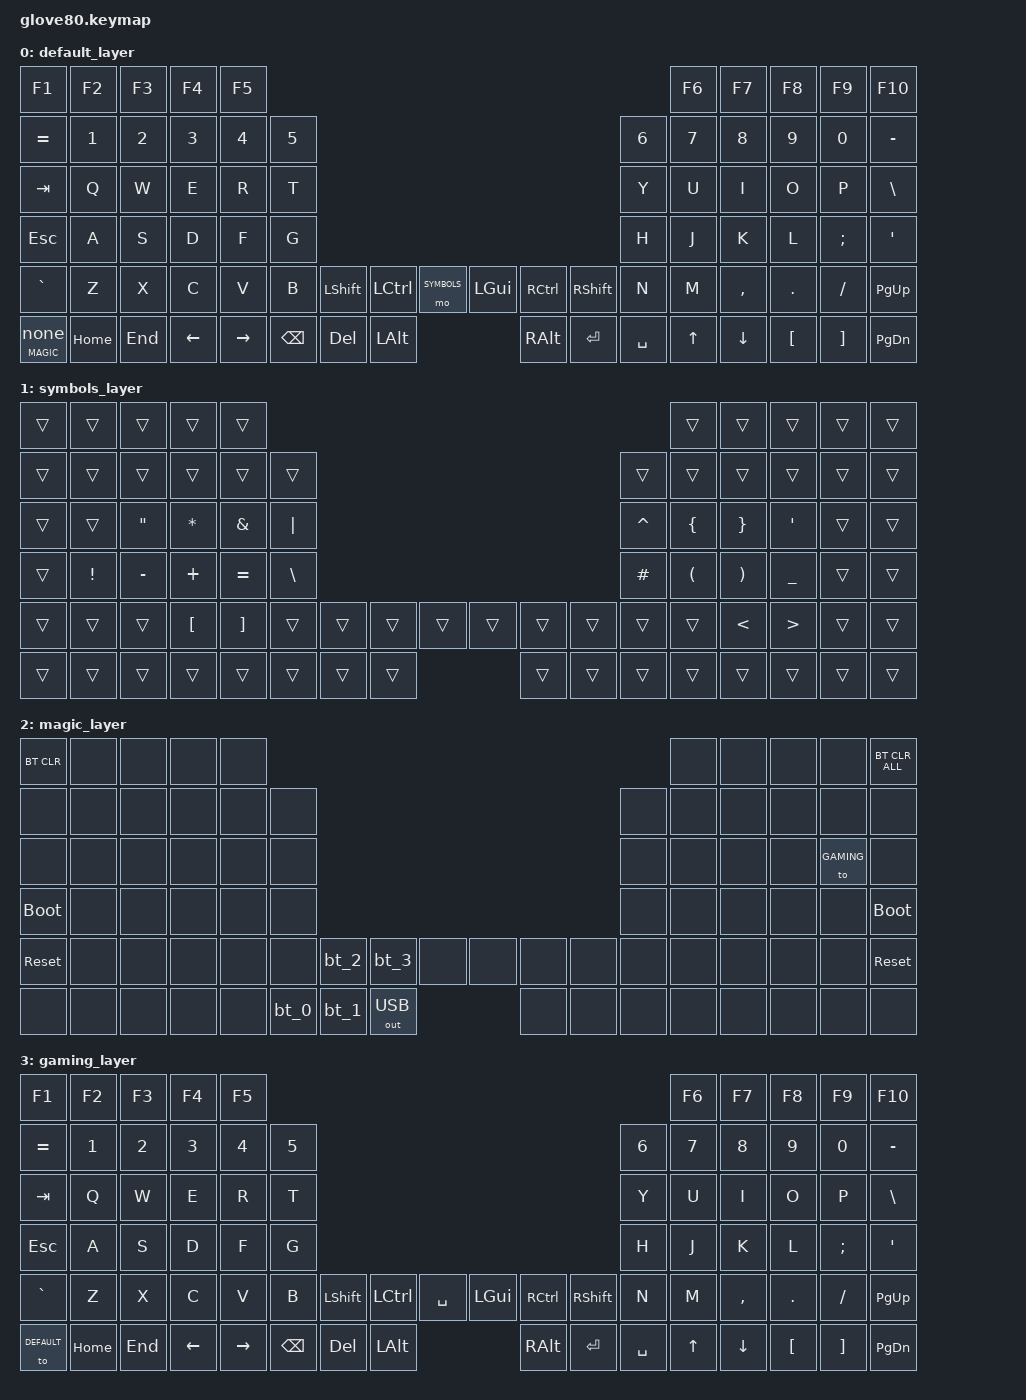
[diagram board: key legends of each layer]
/*
 * Glove80 layout based on MoErgo's factory configuration.
 * SPDX-License-Identifier: MIT
 */

#include <behaviors.dtsi>
#include <dt-bindings/zmk/keys.h>
#include <dt-bindings/zmk/bt.h>
#include <dt-bindings/zmk/outputs.h>

#define DEFAULT 0
#define SYMBOLS 1
#define MAGIC 2
#define GAMING 3

/ {
    behaviors {
        magic: magic_hold_tap {
            compatible = "zmk,behavior-hold-tap";
            label = "MAGIC_HOLD_TAP";
            #binding-cells = <2>;
            flavor = "tap-preferred";
            tapping-term-ms = <200>;
            bindings = <&mo>, <&none>;
        };
    };

    macros {
        bt_0: bt_profile_macro_0 {
            label = "BT_0";
            compatible = "zmk,behavior-macro";
            #binding-cells = <0>;
            bindings = <&out OUT_BLE>, <&bt BT_SEL 0>;
        };

        bt_1: bt_profile_macro_1 {
            label = "BT_1";
            compatible = "zmk,behavior-macro";
            #binding-cells = <0>;
            bindings = <&out OUT_BLE>, <&bt BT_SEL 1>;
        };

        bt_2: bt_profile_macro_2 {
            label = "BT_2";
            compatible = "zmk,behavior-macro";
            #binding-cells = <0>;
            bindings = <&out OUT_BLE>, <&bt BT_SEL 2>;
        };

        bt_3: bt_profile_macro_3 {
            label = "BT_3";
            compatible = "zmk,behavior-macro";
            #binding-cells = <0>;
            bindings = <&out OUT_BLE>, <&bt BT_SEL 3>;
        };
    };

    keymap {
        compatible = "zmk,keymap";

        default_layer {
            // Factory Base, except the unused Lower key now momentarily activates Symbols.
            bindings = <
            &kp F1         &kp F2   &kp F3      &kp F4      &kp F5                                                                                         &kp F6  &kp F7      &kp F8      &kp F9      &kp F10
            &kp EQUAL      &kp N1   &kp N2      &kp N3      &kp N4      &kp N5                                                                     &kp N6  &kp N7  &kp N8      &kp N9      &kp N0      &kp MINUS
            &kp TAB        &kp Q    &kp W       &kp E       &kp R       &kp T                                                                      &kp Y   &kp U   &kp I       &kp O       &kp P       &kp BSLH
            &kp ESC        &kp A    &kp S       &kp D       &kp F       &kp G                                                                      &kp H   &kp J   &kp K       &kp L       &kp SEMI    &kp SQT
            &kp GRAVE      &kp Z    &kp X       &kp C       &kp V       &kp B   &kp LSHFT   &kp LCTRL   &mo SYMBOLS &kp LGUI  &kp RCTRL &kp RSHFT   &kp N   &kp M   &kp COMMA   &kp DOT     &kp FSLH    &kp PG_UP
            &magic MAGIC 0 &kp HOME &kp END     &kp LEFT    &kp RIGHT           &kp BSPC    &kp DEL     &kp LALT      &kp RALT  &kp RET   &kp SPACE           &kp UP  &kp DOWN    &kp LBKT    &kp RBKT    &kp PG_DN
            >;
        };

        symbols_layer {
            // Hold the left Layer thumb. Unlisted keys and every thumb pass through Base.
            //
            //       W:"  E:*  R:&  T:|       Y:^  U:{  I:}  O:'
            // A:!   S:-  D:+  F:=  G:\\      H:#  J:(  K:)  L:_
            //            C:[  V:]                 ,:<  .:>
            bindings = <
            &trans          &trans       &trans       &trans       &trans                                                                                          &trans       &trans       &trans       &trans       &trans
            &trans          &trans       &trans       &trans       &trans       &trans                                                                    &trans       &trans       &trans       &trans       &trans       &trans
            &trans          &trans       &kp DQT      &kp ASTERISK &kp AMPS     &kp PIPE                                                                   &kp CARET    &kp LBRC    &kp RBRC    &kp SQT     &trans       &trans
            &trans          &kp EXCL     &kp MINUS    &kp PLUS     &kp EQUAL    &kp BSLH                                                                   &kp HASH     &kp LPAR    &kp RPAR    &kp UNDER   &trans       &trans
            &trans          &trans       &trans       &kp LBKT     &kp RBKT     &trans    &trans &trans &trans &trans &trans &trans                         &trans       &trans       &kp LT      &kp GT      &trans       &trans
            &trans          &trans       &trans       &trans       &trans                 &trans &trans &trans &trans &trans &trans                                      &trans       &trans       &trans       &trans       &trans
            >;
        };

        magic_layer {
            // Factory maintenance controls without RGB. Magic+P enters Gaming.
            bindings = <
            &bt BT_CLR        &none               &none           &none           &none                                                                                                           &none      &none      &none      &none      &bt BT_CLR_ALL
            &none             &none               &none           &none           &none           &none                                                                                &none      &none      &none      &none      &none      &none
            &none             &none               &none           &none           &none           &none                                                                                &none      &none      &none      &none      &to GAMING &none
            &bootloader       &none               &none           &none           &none           &none                                                                                &none      &none      &none      &none      &none      &bootloader
            &sys_reset        &none               &none           &none           &none           &none           &bt_2     &bt_3     &none      &none      &none      &none               &none      &none      &none      &none      &none      &sys_reset
            &none             &none               &none           &none           &none                           &bt_0     &bt_1     &out OUT_USB &none      &none      &none                          &none      &none      &none      &none      &none
            >;
        };

        gaming_layer {
            // Direct bindings only: no layer taps or hold-taps. Tap Magic to return to Base.
            bindings = <
            &kp F1       &kp F2   &kp F3    &kp F4    &kp F5                                                                                   &kp F6  &kp F7    &kp F8    &kp F9    &kp F10
            &kp EQUAL    &kp N1   &kp N2    &kp N3    &kp N4    &kp N5                                                               &kp N6  &kp N7  &kp N8    &kp N9    &kp N0    &kp MINUS
            &kp TAB      &kp Q    &kp W     &kp E     &kp R     &kp T                                                                &kp Y   &kp U   &kp I     &kp O     &kp P     &kp BSLH
            &kp ESC      &kp A    &kp S     &kp D     &kp F     &kp G                                                                &kp H   &kp J   &kp K     &kp L     &kp SEMI  &kp SQT
            &kp GRAVE    &kp Z    &kp X     &kp C     &kp V     &kp B   &kp LSHFT &kp LCTRL &kp SPACE &kp LGUI &kp RCTRL &kp RSHFT   &kp N   &kp M   &kp COMMA &kp DOT   &kp FSLH  &kp PG_UP
            &to DEFAULT  &kp HOME &kp END   &kp LEFT  &kp RIGHT         &kp BSPC  &kp DEL   &kp LALT  &kp RALT &kp RET   &kp SPACE           &kp UP  &kp DOWN  &kp LBKT  &kp RBKT  &kp PG_DN
            >;
        };
    };
};
